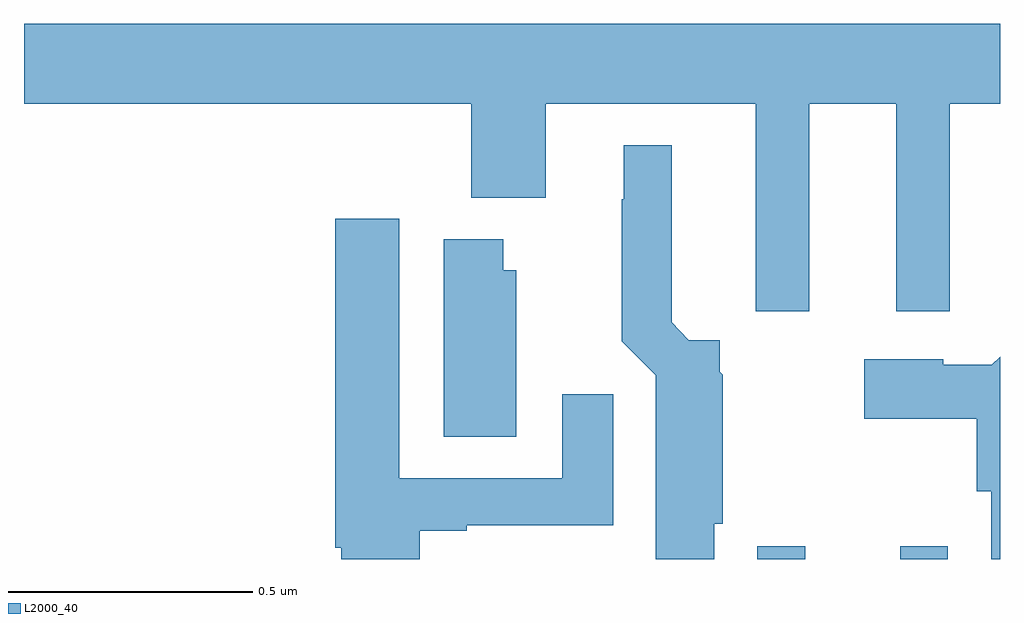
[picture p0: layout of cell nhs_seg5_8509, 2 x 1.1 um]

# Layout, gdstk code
import gdstk
lib = gdstk.Library(unit=1e-6, precision=1e-09)
def R(c, l, rs):  # rectangles x0, y0, x1, y1
    for r in rs: c.add(gdstk.rectangle(r[:2], r[2:], *l))
def P(c, l, *ps):  # polygons
    for p in ps: c.add(gdstk.Polygon(p, *l))
L2000_40 = (2000, 40)

nhs_seg5_8509 = lib.new_cell('nhs_seg5_8509')
R(nhs_seg5_8509, L2000_40, [(223.503,883.799,223.601,883.825), (223.796,883.799,223.893,883.825)])
P(nhs_seg5_8509, L2000_40, [(222,884.732),(222.917,884.732),(222.917,884.54),(223.069,884.54),(223.069,884.732),(223.499,884.732),(223.499,884.307),(223.609,884.307),(223.609,884.732),(223.787,884.732),(223.787,884.307),(223.897,884.307),(223.897,884.732),(224,884.732),(224,884.896),(222,884.896)],
  [(223.414,883.872),(223.432,883.872),(223.432,884.177),(223.426,884.183),(223.426,884.248),(223.362,884.248),(223.327,884.284),(223.327,884.647),(223.229,884.647),(223.229,884.537),(223.225,884.537),(223.225,884.246),(223.295,884.176),(223.295,883.799),(223.414,883.799)],
  [(222.811,883.857),(222.907,883.857),(222.907,883.869),(223.207,883.869),(223.207,884.137),(223.103,884.137),(223.103,883.965),(222.769,883.965),(222.769,884.497),(222.638,884.497),(222.638,883.822),(222.65,883.822),(222.65,883.799),(222.811,883.799)],
  [(223.009,884.391),(222.982,884.391),(222.982,884.455),(222.86,884.455),(222.86,884.05),(223.009,884.05)],
  [(224,884.214),(223.983,884.197),(223.884,884.197),(223.884,884.209),(223.722,884.209),(223.722,884.087),(223.952,884.087),(223.952,883.938),(223.982,883.938),(223.982,883.799),(224,883.799)])

lib.write_gds('nhs_seg5_8509.gds')
